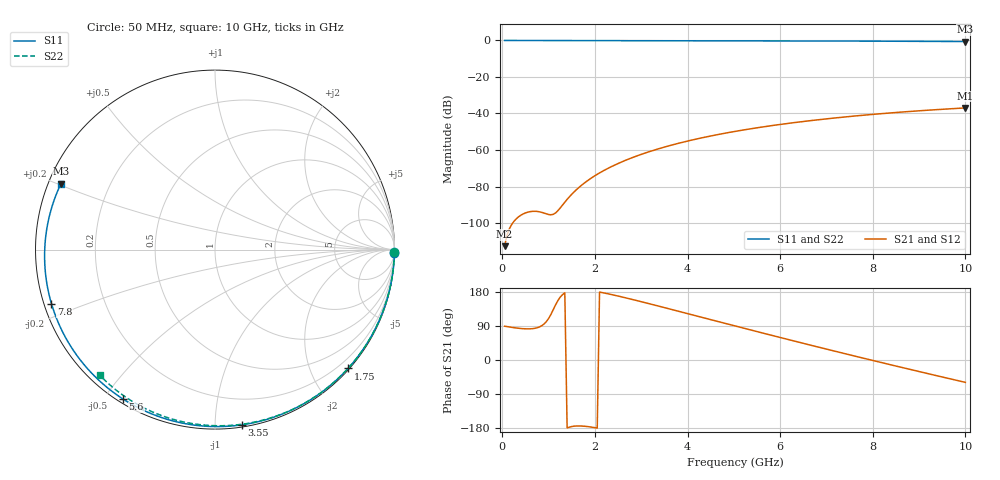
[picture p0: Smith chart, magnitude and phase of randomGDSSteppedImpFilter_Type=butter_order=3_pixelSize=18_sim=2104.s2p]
! freq	dB(S11)	phase(S11)	dB(S12)	phase(S12)
!  dB(S21)	phase(S21)	dB(S22)	phase(S22)
!S-par simulation data
#  GHz  S  DB  R 50
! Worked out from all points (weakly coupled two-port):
!   200 points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, 50 MHz to 10 GHz, reference 50 ohm
!   highest |S21| = -36.96 dB at 10 GHz (marker M1); lowest = -112.7 dB at 50 MHz (marker M2)
!   lowest |S11| = -0.6 dB at 10 GHz (marker M3), VSWR 29.22, Z = 1.78 + j10.2 ohm
!   |S11| at or under -10 dB: nowhere
!   |S22| runs from -0.4 to 0.0 dB; largest |S21 - S12| = 0
!   S11 on the Smith chart (normalised r, x): 50 MHz: 0, -93; 1.75 GHz: 0.02, -2.62; 3.55 GHz: 0.01, -1.16; 5.6 GHz: 0.01, -0.56; 7.8 GHz: 0.02, -0.16; 10 GHz: 0.04, +0.20
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0.05  -0.00 -1.2  -112.65 89.2  -112.65 89.2  -0.00 -0.8
0.4  -0.01 -9.7  -95.70 83.1  -95.70 83.1  -0.01 -6.1
0.8  -0.02 -19.4  -93.83 87.1  -93.83 87.1  -0.02 -12.2
1.2  -0.04 -28.9  -93.23 156.7  -93.23 156.7  -0.02 -18.2
1.65  -0.05 -39.5  -80.59 -174.0  -80.59 -174.0  -0.03 -25.0
1.7  -0.05 -40.6  -79.52 -174.2  -79.52 -174.2  -0.03 -25.7
1.75  -0.05 -41.8  -78.50 -174.6  -78.50 -174.6  -0.03 -26.5
2.05  -0.06 -48.7  -73.29 -179.6  -73.29 -179.6  -0.04 -30.9
2.45  -0.07 -57.7  -67.97 170.2  -67.97 170.2  -0.05 -36.8
2.9  -0.09 -67.5  -63.29 157.0  -63.29 157.0  -0.06 -43.3
3.4  -0.10 -78.2  -59.13 141.5  -59.13 141.5  -0.07 -50.4
3.55  -0.11 -81.4  -58.04 136.7  -58.04 136.7  -0.07 -52.5
4.3  -0.13 -96.6  -53.37 112.9  -53.37 112.9  -0.09 -62.8
5.05  -0.17 -111.2  -49.70 89.1  -49.70 89.1  -0.11 -72.8
5.6  -0.20 -121.6  -47.44 71.8  -47.44 71.8  -0.13 -80.0
6.15  -0.23 -131.8  -45.49 54.7  -45.49 54.7  -0.15 -87.0
6.7  -0.27 -141.8  -43.78 37.8  -43.78 37.8  -0.18 -93.8
7.25  -0.31 -151.7  -42.26 21.1  -42.26 21.1  -0.21 -100.5
7.8  -0.36 -161.7  -40.93 4.7  -40.93 4.7  -0.25 -107.1
8.35  -0.41 -171.7  -39.74 -11.6  -39.74 -11.6  -0.29 -113.5
9.2  -0.50 172.4  -38.17 -36.2  -38.17 -36.2  -0.36 -123.3
10  -0.59 156.9  -36.96 -59.0  -36.96 -59.0  -0.45 -132.4
